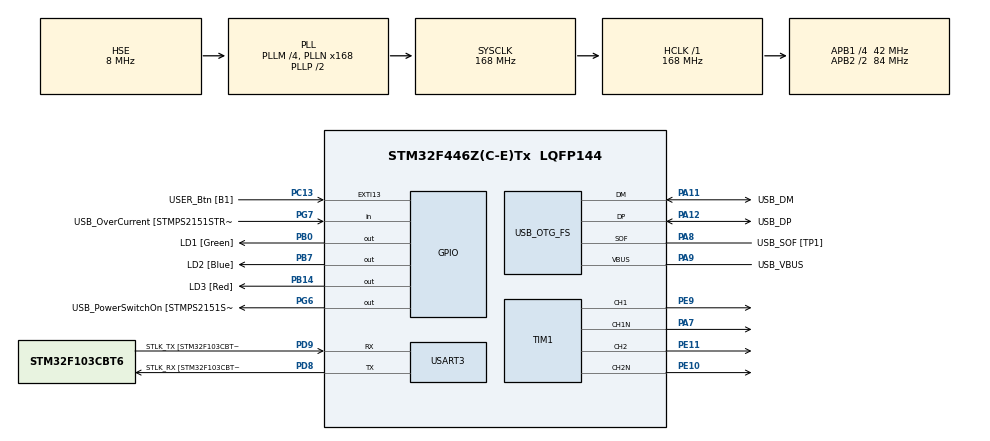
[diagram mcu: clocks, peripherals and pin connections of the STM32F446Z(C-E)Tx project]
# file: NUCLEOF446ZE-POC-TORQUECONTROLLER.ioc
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Mcu.Family=STM32F4
Mcu.Name=STM32F446Z(C-E)Tx
Mcu.Package=LQFP144
NVIC.PriorityGroup=NVIC_PRIORITYGROUP_4
PA10.GPIO_Label=USB_ID
PA10.Signal=USB_OTG_FS_ID
PA11.GPIO_Label=USB_DM
PA11.Mode=Device_Only
PA11.Signal=USB_OTG_FS_DM
PA12.GPIO_Label=USB_DP
PA12.Mode=Device_Only
PA12.Signal=USB_OTG_FS_DP
PA13.GPIO_Label=TMS
PA13.Mode=Serial_Wire
PA13.Signal=SYS_JTMS-SWDIO
PA14.GPIO_Label=TCK
PA14.Mode=Serial_Wire
PA14.Signal=SYS_JTCK-SWCLK
PA7.Mode=PWM Generation1 CH1 CH1N
PA7.Signal=TIM1_CH1N
PA8.GPIO_Label=USB_SOF [TP1]
PA8.Mode=Activate_SOF_FS
PA8.Signal=USB_OTG_FS_SOF
PA9.GPIO_Label=USB_VBUS
PA9.Mode=Activate_VBUS
PA9.Signal=USB_OTG_FS_VBUS
PB0.GPIO_Label=LD1 [Green]
PB0.Signal=GPIO_Output
PB14.GPIO_Label=LD3 [Red]
PB14.Signal=GPIO_Output
PB7.GPIO_Label=LD2 [Blue]
PB7.Signal=GPIO_Output
PC13.GPIO_Label=USER_Btn [B1]
PC13.Signal=GPXTI13
PC14-OSC32_IN.Mode=LSE-External-Oscillator
PC14-OSC32_IN.Signal=RCC_OSC32_IN
PC15-OSC32_OUT.Mode=LSE-External-Oscillator
PC15-OSC32_OUT.Signal=RCC_OSC32_OUT
PD8.GPIO_Label=STLK_RX [STM32F103CBT6_PA3]
PD8.Mode=Asynchronous
PD8.Signal=USART3_TX
PD9.GPIO_Label=STLK_TX [STM32F103CBT6_PA2]
PD9.Mode=Asynchronous
PD9.Signal=USART3_RX
PE10.Mode=PWM Generation2 CH2 CH2N
PE10.Signal=TIM1_CH2N
PE11.Signal=S_TIM1_CH2
PE9.Signal=S_TIM1_CH1
PG6.GPIO_Label=USB_PowerSwitchOn [STMPS2151STR_EN]
PG6.Signal=GPIO_Output
PG7.GPIO_Label=USB_OverCurrent [STMPS2151STR_FAULT]
PG7.Signal=GPIO_Input
PH0-OSC_IN.GPIO_Label=MCO [STM32F103CBT6_PA8]
PH0-OSC_IN.Mode=HSE-External-Clock-Source
PH0-OSC_IN.Signal=RCC_OSC_IN
PH1-OSC_OUT.Mode=HSE-External-Clock-Source
PH1-OSC_OUT.Signal=RCC_OSC_OUT
ProjectManager.HeapSize=0x200
ProjectManager.StackSize=0x400
ProjectManager.TargetToolchain=STM32CubeIDE
RCC.48MHZClocksFreq_Value=24000000
RCC.AHBFreq_Value=168000000
RCC.APB1CLKDivider=RCC_HCLK_DIV4
RCC.APB1Freq_Value=42000000
RCC.APB1TimFreq_Value=84000000
RCC.APB2CLKDivider=RCC_HCLK_DIV2
RCC.APB2Freq_Value=84000000
RCC.APB2TimFreq_Value=168000000
RCC.CortexFreq_Value=168000000
RCC.HCLKFreq_Value=168000000
RCC.HSE_VALUE=8000000
RCC.HSI_VALUE=16000000
RCC.PLLM=4
RCC.PLLMUL=RCC_PLL_MUL9
RCC.PLLN=168
RCC.PLLQ=7
RCC.PRESCALERUSB=RCC_USBCLKSOURCE_PLL_DIV1_5
RCC.SYSCLKFreq_VALUE=168000000
RCC.SYSCLKSource=RCC_SYSCLKSOURCE_PLLCLK
RCC.SYSCLKSourceVirtual=RCC_SYSCLKSOURCE_PLLCLK
RCC.USBFreq_Value=48000000
RCC.VCOOutputFreq_Value=336000000
SH.S_TIM1_CH1.0=TIM1_CH1,PWM Generation1 CH1 CH1N
SH.S_TIM1_CH2.0=TIM1_CH2,PWM Generation2 CH2 CH2N
TIM1.Channel-PWM\ Generation1\ CH1\ CH1N=TIM_CHANNEL_1
TIM1.Channel-PWM\ Generation2\ CH2\ CH2N=TIM_CHANNEL_2
TIM1.CounterMode=TIM_COUNTERMODE_CENTERALIGNED1
USART3.VirtualMode=VM_ASYNC
USB_OTG_FS.VirtualMode=Device_Only
VP_TIM1_VS_ClockSourceINT.Mode=Internal
board=NUCLEO-F446ZE

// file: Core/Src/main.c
/* USER CODE BEGIN Header */
/**
  ******************************************************************************
  * @file           : main.c
  * @brief          : Main program body
  ******************************************************************************
  * @attention
  *
  * Copyright (c) 2025 STMicroelectronics.
  * All rights reserved.
  *
  * This software is licensed under terms that can be found in the LICENSE file
  * in the root directory of this software component.
  * If no LICENSE file comes with this software, it is provided AS-IS.
  *
  ******************************************************************************
  */
/* USER CODE END Header */
#include "main.h"

TIM_HandleTypeDef htim1;

UART_HandleTypeDef huart3;

PCD_HandleTypeDef hpcd_USB_OTG_FS;

void SystemClock_Config(void);
static void MX_GPIO_Init(void);
static void MX_USART3_UART_Init(void);
static void MX_USB_OTG_FS_PCD_Init(void);
static void MX_TIM1_Init(void);

/* USER CODE BEGIN 0 */
typedef struct{
	GPIO_TypeDef *port;
	uint16_t pin;
}MccGpioContext;

typedef struct
{
	TIM_HandleTypeDef *bridgeTimer;
	MccGpioContext auxOutput;
	MccGpioContext userLed1;
}MccContext;

/* USER CODE END 0 */

int main(void)
{

  /* MCU Configuration--------------------------------------------------------*/

  /* Reset of all peripherals, Initializes the Flash interface and the Systick. */
  HAL_Init();

  /* Configure the system clock */
  SystemClock_Config();

  /* Initialize all configured peripherals */
  MX_GPIO_Init();
  MX_USART3_UART_Init();
  MX_USB_OTG_FS_PCD_Init();
  MX_TIM1_Init();
  /* USER CODE BEGIN 2 */
  static MccContext ctx;
  ctx.bridgeTimer = &htim1;
  ctx.auxOutput.port = MCO_GPIO_Port;
  ctx.auxOutput.pin = MCO_Pin;
  ctx.userLed1.port = LD1_GPIO_Port;
  ctx.userLed1.pin = LD1_Pin;

  MccHandle handle = Mcc_Create(MCC_POC_TORQUECONTROLLER);
  Mcc_SetContext(handle, &ctx);
  /* USER CODE END 2 */
  Mcc_Run(handle);
  /* Infinite loop */
  while (1)
  {

  }
}

void SystemClock_Config(void)
{
  RCC_OscInitTypeDef RCC_OscInitStruct = {0};
  RCC_ClkInitTypeDef RCC_ClkInitStruct = {0};

  /** Configure the main internal regulator output voltage
  */
  __HAL_RCC_PWR_CLK_ENABLE();
  __HAL_PWR_VOLTAGESCALING_CONFIG(PWR_REGULATOR_VOLTAGE_SCALE1);

  /** Initializes the RCC Oscillators according to the specified parameters
  * in the RCC_OscInitTypeDef structure.
  */
  RCC_OscInitStruct.OscillatorType = RCC_OSCILLATORTYPE_HSE;
  RCC_OscInitStruct.HSEState = RCC_HSE_BYPASS;
  RCC_OscInitStruct.PLL.PLLState = RCC_PLL_ON;
  RCC_OscInitStruct.PLL.PLLSource = RCC_PLLSOURCE_HSE;
  RCC_OscInitStruct.PLL.PLLM = 4;
  RCC_OscInitStruct.PLL.PLLN = 168;
  RCC_OscInitStruct.PLL.PLLP = RCC_PLLP_DIV2;
  RCC_OscInitStruct.PLL.PLLQ = 7;
  RCC_OscInitStruct.PLL.PLLR = 2;
  if (HAL_RCC_OscConfig(&RCC_OscInitStruct) != HAL_OK)
  {
    Error_Handler();
  }

  /** Initializes the CPU, AHB and APB buses clocks
  */
  RCC_ClkInitStruct.ClockType = RCC_CLOCKTYPE_HCLK|RCC_CLOCKTYPE_SYSCLK
                              |RCC_CLOCKTYPE_PCLK1|RCC_CLOCKTYPE_PCLK2;
  RCC_ClkInitStruct.SYSCLKSource = RCC_SYSCLKSOURCE_PLLCLK;
  RCC_ClkInitStruct.AHBCLKDivider = RCC_SYSCLK_DIV1;
  RCC_ClkInitStruct.APB1CLKDivider = RCC_HCLK_DIV4;
  RCC_ClkInitStruct.APB2CLKDivider = RCC_HCLK_DIV2;

  if (HAL_RCC_ClockConfig(&RCC_ClkInitStruct, FLASH_LATENCY_5) != HAL_OK)
  {
    Error_Handler();
  }
}

static void MX_TIM1_Init(void)
{

  TIM_ClockConfigTypeDef sClockSourceConfig = {0};
  TIM_MasterConfigTypeDef sMasterConfig = {0};
  TIM_OC_InitTypeDef sConfigOC = {0};
  TIM_BreakDeadTimeConfigTypeDef sBreakDeadTimeConfig = {0};

  htim1.Instance = TIM1;
  htim1.Init.Prescaler = 0;
  htim1.Init.CounterMode = TIM_COUNTERMODE_CENTERALIGNED1;
  htim1.Init.Period = 65535;
  htim1.Init.ClockDivision = TIM_CLOCKDIVISION_DIV1;
  htim1.Init.RepetitionCounter = 0;
  htim1.Init.AutoReloadPreload = TIM_AUTORELOAD_PRELOAD_DISABLE;
  if (HAL_TIM_Base_Init(&htim1) != HAL_OK)
  {
    Error_Handler();
  }
  sClockSourceConfig.ClockSource = TIM_CLOCKSOURCE_INTERNAL;
  if (HAL_TIM_ConfigClockSource(&htim1, &sClockSourceConfig) != HAL_OK)
  {
    Error_Handler();
  }
  if (HAL_TIM_PWM_Init(&htim1) != HAL_OK)
  {
    Error_Handler();
  }
  sMasterConfig.MasterOutputTrigger = TIM_TRGO_RESET;
  sMasterConfig.MasterSlaveMode = TIM_MASTERSLAVEMODE_DISABLE;
  if (HAL_TIMEx_MasterConfigSynchronization(&htim1, &sMasterConfig) != HAL_OK)
  {
    Error_Handler();
  }
  sConfigOC.OCMode = TIM_OCMODE_PWM1;
  sConfigOC.Pulse = 0;
  sConfigOC.OCPolarity = TIM_OCPOLARITY_HIGH;
  sConfigOC.OCNPolarity = TIM_OCNPOLARITY_HIGH;
  sConfigOC.OCFastMode = TIM_OCFAST_DISABLE;
  sConfigOC.OCIdleState = TIM_OCIDLESTATE_RESET;
  sConfigOC.OCNIdleState = TIM_OCNIDLESTATE_RESET;
  if (HAL_TIM_PWM_ConfigChannel(&htim1, &sConfigOC, TIM_CHANNEL_1) != HAL_OK)
  {
    Error_Handler();
  }
  if (HAL_TIM_PWM_ConfigChannel(&htim1, &sConfigOC, TIM_CHANNEL_2) != HAL_OK)
  {
    Error_Handler();
  }
  sBreakDeadTimeConfig.OffStateRunMode = TIM_OSSR_DISABLE;
  sBreakDeadTimeConfig.OffStateIDLEMode = TIM_OSSI_DISABLE;
  sBreakDeadTimeConfig.LockLevel = TIM_LOCKLEVEL_OFF;
  sBreakDeadTimeConfig.DeadTime = 0;
  sBreakDeadTimeConfig.BreakState = TIM_BREAK_DISABLE;
  sBreakDeadTimeConfig.BreakPolarity = TIM_BREAKPOLARITY_HIGH;
  sBreakDeadTimeConfig.AutomaticOutput = TIM_AUTOMATICOUTPUT_DISABLE;
  if (HAL_TIMEx_ConfigBreakDeadTime(&htim1, &sBreakDeadTimeConfig) != HAL_OK)
  {
    Error_Handler();
  }
  HAL_TIM_MspPostInit(&htim1);

}

static void MX_USART3_UART_Init(void)
{

  huart3.Instance = USART3;
  huart3.Init.BaudRate = 115200;
  huart3.Init.WordLength = UART_WORDLENGTH_8B;
  huart3.Init.StopBits = UART_STOPBITS_1;
  huart3.Init.Parity = UART_PARITY_NONE;
  huart3.Init.Mode = UART_MODE_TX_RX;
  huart3.Init.HwFlowCtl = UART_HWCONTROL_NONE;
  huart3.Init.OverSampling = UART_OVERSAMPLING_16;
  if (HAL_UART_Init(&huart3) != HAL_OK)
  {
    Error_Handler();
  }

}

static void MX_USB_OTG_FS_PCD_Init(void)
{

  hpcd_USB_OTG_FS.Instance = USB_OTG_FS;
  hpcd_USB_OTG_FS.Init.dev_endpoints = 6;
  hpcd_USB_OTG_FS.Init.speed = PCD_SPEED_FULL;
  hpcd_USB_OTG_FS.Init.dma_enable = DISABLE;
  hpcd_USB_OTG_FS.Init.phy_itface = PCD_PHY_EMBEDDED;
  hpcd_USB_OTG_FS.Init.Sof_enable = ENABLE;
  hpcd_USB_OTG_FS.Init.low_power_enable = DISABLE;
  hpcd_USB_OTG_FS.Init.lpm_enable = DISABLE;
  hpcd_USB_OTG_FS.Init.vbus_sensing_enable = ENABLE;
  hpcd_USB_OTG_FS.Init.use_dedicated_ep1 = DISABLE;
  if (HAL_PCD_Init(&hpcd_USB_OTG_FS) != HAL_OK)
  {
    Error_Handler();
  }

}

static void MX_GPIO_Init(void)
{
  GPIO_InitTypeDef GPIO_InitStruct = {0};

  /* GPIO Ports Clock Enable */
  __HAL_RCC_GPIOC_CLK_ENABLE();
  __HAL_RCC_GPIOH_CLK_ENABLE();
  __HAL_RCC_GPIOA_CLK_ENABLE();
  __HAL_RCC_GPIOB_CLK_ENABLE();
  __HAL_RCC_GPIOE_CLK_ENABLE();
  __HAL_RCC_GPIOD_CLK_ENABLE();
  __HAL_RCC_GPIOG_CLK_ENABLE();

  /*Configure GPIO pin Output Level */
  HAL_GPIO_WritePin(GPIOB, LD1_Pin|LD3_Pin|LD2_Pin, GPIO_PIN_RESET);

  /*Configure GPIO pin Output Level */
  HAL_GPIO_WritePin(USB_PowerSwitchOn_GPIO_Port, USB_PowerSwitchOn_Pin, GPIO_PIN_RESET);

  /*Configure GPIO pin : USER_Btn_Pin */
  GPIO_InitStruct.Pin = USER_Btn_Pin;
  GPIO_InitStruct.Mode = GPIO_MODE_IT_RISING;
  GPIO_InitStruct.Pull = GPIO_NOPULL;
  HAL_GPIO_Init(USER_Btn_GPIO_Port, &GPIO_InitStruct);

  /*Configure GPIO pins : LD1_Pin LD3_Pin LD2_Pin */
  GPIO_InitStruct.Pin = LD1_Pin|LD3_Pin|LD2_Pin;
  GPIO_InitStruct.Mode = GPIO_MODE_OUTPUT_PP;
  GPIO_InitStruct.Pull = GPIO_NOPULL;
  GPIO_InitStruct.Speed = GPIO_SPEED_FREQ_LOW;
  HAL_GPIO_Init(GPIOB, &GPIO_InitStruct);

  /*Configure GPIO pin : USB_PowerSwitchOn_Pin */
  GPIO_InitStruct.Pin = USB_PowerSwitchOn_Pin;
  GPIO_InitStruct.Mode = GPIO_MODE_OUTPUT_PP;
  GPIO_InitStruct.Pull = GPIO_NOPULL;
  GPIO_InitStruct.Speed = GPIO_SPEED_FREQ_LOW;
  HAL_GPIO_Init(USB_PowerSwitchOn_GPIO_Port, &GPIO_InitStruct);

  /*Configure GPIO pin : USB_OverCurrent_Pin */
  GPIO_InitStruct.Pin = USB_OverCurrent_Pin;
  GPIO_InitStruct.Mode = GPIO_MODE_INPUT;
  GPIO_InitStruct.Pull = GPIO_NOPULL;
  HAL_GPIO_Init(USB_OverCurrent_GPIO_Port, &GPIO_InitStruct);

}

void Error_Handler(void)
{
  __disable_irq();
  while (1)
  {
  }
}
